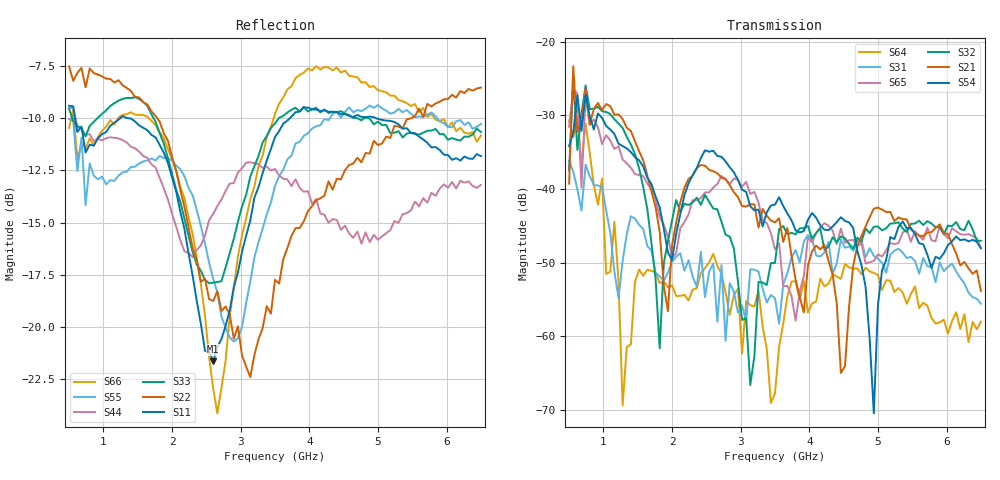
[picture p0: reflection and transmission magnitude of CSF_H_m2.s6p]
!Keysight Technologies,M9804A,MY58100912,A.14.10.03
!Date: Thursday, April 27, 2023 10:28:33
!Correction: S11(C  6-Port  )
!S12(C  6-Port  )
!S13(C  6-Port  )
!S14(C  6-Port  )
!S15(C  6-Port  )
!S16(C  6-Port  )
!S21(C  6-Port  )
!S22(C  6-Port  )
!S23(C  6-Port  )
!S24(C  6-Port  )
!S25(C  6-Port  )
!S26(C  6-Port  )
!S31(C  6-Port  )
!S32(C  6-Port  )
!S33(C  6-Port  )
!S34(C  6-Port  )
!S35(C  6-Port  )
!S36(C  6-Port  )
!S41(C  6-Port  )
!S42(C  6-Port  )
!S43(C  6-Port  )
!S44(C  6-Port  )
!S45(C  6-Port  )
!S46(C  6-Port  )
!S51(C  6-Port  )
!S52(C  6-Port  )
!S53(C  6-Port  )
!S54(C  6-Port  )
!S55(C  6-Port  )
!S56(C  6-Port  )
!S61(C  6-Port  )
!S62(C  6-Port  )
!S63(C  6-Port  )
!S64(C  6-Port  )
!S65(C  6-Port  )
!S66(C  6-Port  )
!S6P File: Measurement: :
# Hz S  RI  R 50
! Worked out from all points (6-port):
!   101 points, 500 MHz to 6.5 GHz, reference 50 ohm
!   strongest paths, dB at 500 MHz, 2 GHz, 3.5 GHz, 5 GHz, 6.5 GHz:
!     S54: -34.1, -49.6, -42.1, -55.8, -48.0
!     S21: -39.3, -47.6, -44.5, -42.5, -53.8
!     S32: -37.5, -44.3, -50.0, -45.1, -47.0
!     S65: -31.5, -49.4, -48.2, -48.9, -48.0
!     S31: -36.2, -49.9, -54.8, -49.5, -55.6
!     S64: -30.6, -53.1, -67.7, -51.7, -58.0
!   lowest |S11| = -21.7 dB at 2.6 GHz (marker M1), VSWR 1.18, Z = 42.6 + j2.01 ohm
!   |S11| at or under -10 dB: 588.1 MHz to 1.243 GHz (654.6 MHz wide, 71.5 % of centre); 1.376 GHz to 3.714 GHz (2.338 GHz wide, 91.9 % of centre); 4.978 GHz to end of sweep
